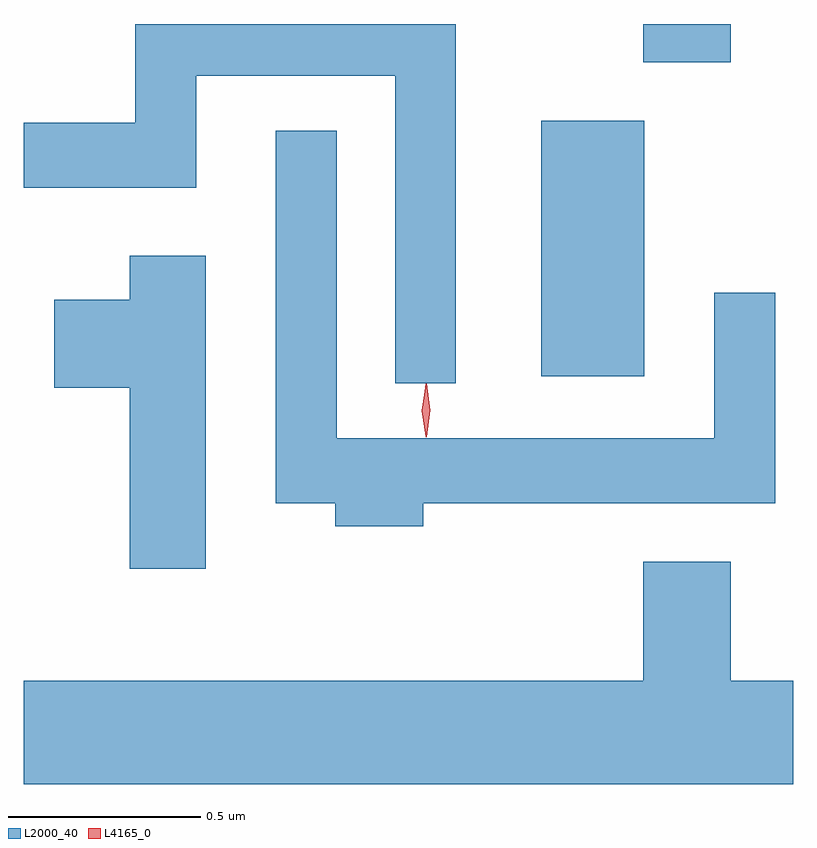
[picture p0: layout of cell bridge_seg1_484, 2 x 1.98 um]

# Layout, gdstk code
import gdstk
lib = gdstk.Library(unit=1e-6, precision=1e-09)
def R(c, l, rs):  # rectangles x0, y0, x1, y1
    for r in rs: c.add(gdstk.rectangle(r[:2], r[2:], *l))
def P(c, l, *ps):  # polygons
    for p in ps: c.add(gdstk.Polygon(p, *l))
L2000_40 = (2000, 40)
L4165_0 = (4165, 0)

bridge_seg1_484 = lib.new_cell('bridge_seg1_484')
R(bridge_seg1_484, L2000_40, [(366.216,860.676,366.484,861.339), (366.481,861.491,366.709,861.591)])
P(bridge_seg1_484, L2000_40, [(365.994,861.591),(365.161,861.591),(365.161,861.334),(364.871,861.334),(364.871,861.166),(365.319,861.166),(365.319,861.456),(365.836,861.456),(365.836,860.658),(365.994,860.658)],
  [(365.909,860.346),(366.824,860.346),(366.824,860.893),(366.666,860.893),(366.666,860.514),(365.684,860.514),(365.684,861.313),(365.526,861.313),(365.526,860.346),(365.681,860.346),(365.681,860.286),(365.909,860.286)],
  [(365.344,860.989),(365.146,860.989),(365.146,860.874),(364.951,860.874),(364.951,860.646),(365.146,860.646),(365.146,860.176),(365.344,860.176)],
  [(366.871,859.884),(366.709,859.884),(366.709,860.194),(366.481,860.194),(366.481,859.884),(364.871,859.884),(364.871,859.616),(366.871,859.616)])
P(bridge_seg1_484, L4165_0, [(365.917,860.517),(365.916,860.518),(365.907,860.587),(365.916,860.656),(365.917,860.656),(365.918,860.656),(365.927,860.587),(365.918,860.518)],
  [(365.916,860.519),(365.916,860.52),(365.906,860.586),(365.916,860.652),(365.916,860.653),(365.917,860.652),(365.926,860.586),(365.917,860.52)])

lib.write_gds('bridge_seg1_484.gds')
